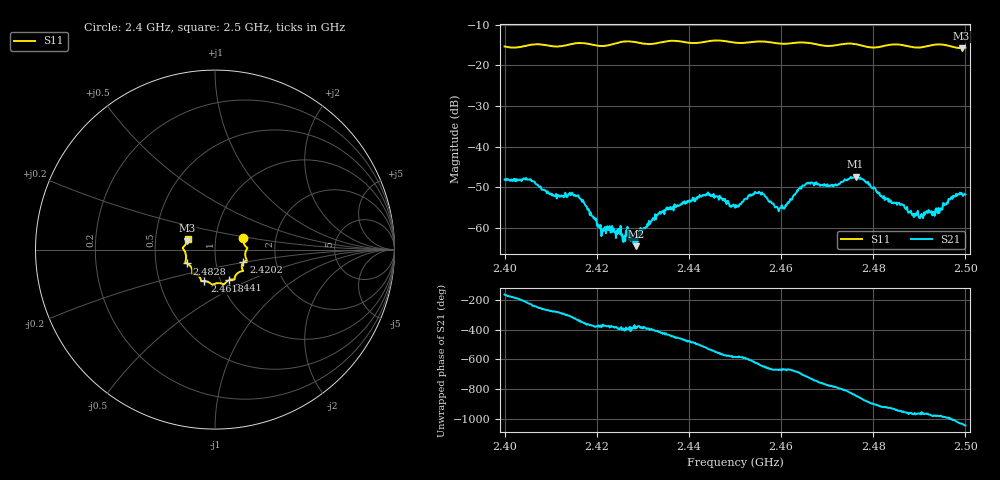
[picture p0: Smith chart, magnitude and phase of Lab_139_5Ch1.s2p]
# Hz S RI R 50
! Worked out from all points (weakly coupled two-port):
!   601 points, 2.4 GHz to 2.5 GHz, reference 50 ohm
!   highest |S21| = -47.37 dB at 2.4762 GHz (marker M1); lowest = -64.5 dB at 2.4285 GHz (marker M2)
!   lowest |S11| = -15.8 dB at 2.4992 GHz (marker M3), VSWR 1.39, Z = 36.5 + j3.66 ohm
!   |S11| at or under -10 dB: start of sweep to end of sweep
!   S12 and S22 are empty: the file has one direction only
!   S11 on the Smith chart (normalised r, x): 2.4 GHz: 1.36, +0.18; 2.4202 GHz: 1.36, -0.20; 2.441 GHz: 1.10, -0.39; 2.4618 GHz: 0.84, -0.30; 2.4828 GHz: 0.72, -0.11; 2.5 GHz: 0.73, +0.09
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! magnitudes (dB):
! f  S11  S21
! 2.4 GHz  -15.4  -48.1
! 2.4052 GHz  -15.1  -48.1
! 2.4103 GHz  -15.3  -51.7
! 2.4167 GHz  -14.5  -53.0
! 2.4202 GHz  -15.2  -59.7
! 2.4285 GHz  -14.3  -64.5
! 2.4333 GHz  -14.5  -56.5
! 2.441 GHz  -14.6  -53.3
! 2.4443 GHz  -14.1  -51.9
! 2.45 GHz  -14.5  -55.0
! 2.4548 GHz  -14.2  -51.4
! 2.4592 GHz  -14.6  -54.8
! 2.4618 GHz  -14.6  -53.5
! 2.4643 GHz  -14.4  -50.4
! 2.4667 GHz  -14.6  -48.8
! 2.4718 GHz  -15.1  -49.3
! 2.4762 GHz  -14.8  -47.4
! 2.4828 GHz  -15.1  -52.9
! 2.4833 GHz  -15.0  -53.5
! 2.4903 GHz  -15.6  -56.9
! 2.4992 GHz  -15.8  -51.4
! 2.5 GHz  -15.7  -51.8
